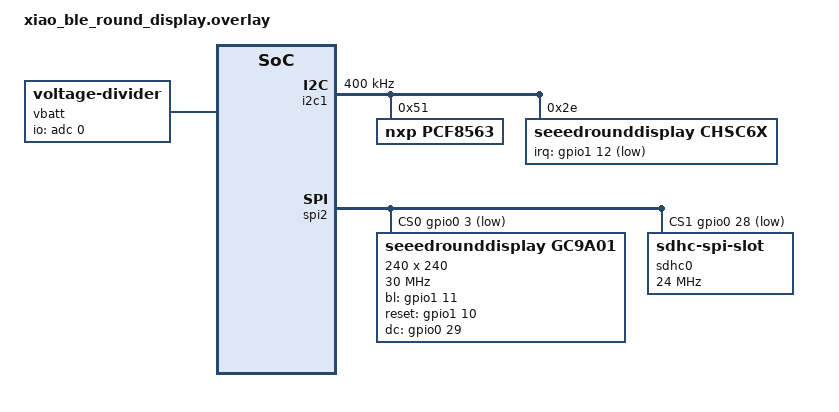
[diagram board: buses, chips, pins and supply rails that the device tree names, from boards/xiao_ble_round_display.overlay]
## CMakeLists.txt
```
#-------------------------------------------------------------------------------
# Zephyr Example Application
#
# Copyright (c) 2021 Nordic Semiconductor ASA
# SPDX-License-Identifier: Apache-2.0

cmake_minimum_required(VERSION 3.13.1)
find_package(Zephyr REQUIRED HINTS $ENV{ZEPHYR_BASE})

project(app LANGUAGES C)

add_subdirectory(src/bluetooth)
add_subdirectory(src/usb)
add_subdirectory(src/display)
add_subdirectory(src/sd)
add_subdirectory(src/rtc)

target_include_directories(app PRIVATE src)

# Files from application
FILE(GLOB app_sources src/*.c)
target_sources(app PRIVATE ${app_sources})
```

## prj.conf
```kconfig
# This file contains selected Kconfig options for the application.

# Delay on boot to get all log since startup
CONFIG_BOOT_DELAY=3000

# Enable c++ for eez framework
CONFIG_NEWLIB_LIBC_NANO=n
CONFIG_CPP=y
# Enable 17
CONFIG_STD_CPP17=y
# Newlib
CONFIG_NEWLIB_LIBC=y
# Standar c++ libraries
CONFIG_REQUIRES_FULL_LIBCPP=y

# enable logging
CONFIG_LOG=y
CONFIG_LOG_INFO_COLOR_GREEN=y
CONFIG_LOG_MODE_IMMEDIATE=y

# enable USB
CONFIG_STDOUT_CONSOLE=y
CONFIG_USB_DEVICE_PRODUCT="Xiao BLE Sense"
CONFIG_USB_DEVICE_PID=0x0001
CONFIG_USB_DRIVER_LOG_LEVEL_ERR=y
CONFIG_USB_DEVICE_LOG_LEVEL_ERR=y
CONFIG_UART_LINE_CTRL=y

# enabling Bluetooth
CONFIG_BT=y
CONFIG_BT_PERIPHERAL=y
CONFIG_BT_DEVICE_NAME="Xiao"
CONFIG_BT_DEVICE_APPEARANCE=5184
# 5184 means Generic Outdoor Sports Activity. Complete list of appearance values can be found on the Bluetooth website under "assigned values" : https://www.bluetooth.com/specifications/assigned-numbers/
CONFIG_BT_MAX_CONN=1
CONFIG_BT_MAX_PAIRED=1
CONFIG_BT_GATT_CLIENT=y
CONFIG_BT_L2CAP_TX_MTU=247
CONFIG_BT_BUF_ACL_RX_SIZE=251

# enabling bonding
CONFIG_BT_SETTINGS=y
CONFIG_FLASH=y
CONFIG_FLASH_PAGE_LAYOUT=y
CONFIG_FLASH_MAP=y
CONFIG_NVS=y
CONFIG_SETTINGS=y

# Enable GC9A01
CONFIG_PWM=y
CONFIG_SPI=y
CONFIG_DISPLAY=y
CONFIG_GC9X01X=y
CONFIG_PINCTRL=y
CONFIG_PM_DEVICE=y
CONFIG_PM_DEVICE_RUNTIME=y

# Enable LVGL
CONFIG_LV_Z_MEM_POOL_SIZE=16384
CONFIG_LVGL=y
CONFIG_LV_MEM_CUSTOM=y
CONFIG_LV_USE_LOG=y
CONFIG_LV_USE_LABEL=y
CONFIG_LV_USE_ARC=y
CONFIG_LV_USE_BTN=y
CONFIG_LV_FONT_DEFAULT_MONTSERRAT_16=y
CONFIG_LV_COLOR_16_SWAP=y
CONFIG_LV_COLOR_DEPTH_16=y

# Enable touchscreen CHSC6x
CONFIG_INPUT=y
CONFIG_INPUT_GPIO_KEYS=n
CONFIG_INPUT_CHSC6X=y

# Enable SD File System
CONFIG_DISK_ACCESS=y
CONFIG_FILE_SYSTEM=y
CONFIG_FAT_FILESYSTEM_ELM=y
CONFIG_MAIN_STACK_SIZE=2048

# Enable RTC
CONFIG_I2C=y
CONFIG_RTC=y
# RTC_UPDATE lets you set up a callback called every time the RTC is updated by 1 second. Not used at the moment.
CONFIG_RTC_UPDATE=n
```

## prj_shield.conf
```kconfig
# This file contains selected Kconfig options for the application.

# Delay on boot to get all log since startup
CONFIG_BOOT_DELAY=3000

# Enable c++ for eez framework
CONFIG_NEWLIB_LIBC_NANO=n
CONFIG_CPP=y
# Enable 17
CONFIG_STD_CPP17=y
# Newlib
CONFIG_NEWLIB_LIBC=y
# Standar c++ libraries
CONFIG_REQUIRES_FULL_LIBCPP=y

# enable logging
CONFIG_LOG=y
CONFIG_LOG_INFO_COLOR_GREEN=y
CONFIG_LOG_MODE_IMMEDIATE=y

# enable USB
CONFIG_STDOUT_CONSOLE=y
CONFIG_USB_DEVICE_PRODUCT="Xiao BLE Sense"
CONFIG_USB_DEVICE_PID=0x0001
CONFIG_USB_DRIVER_LOG_LEVEL_ERR=y
CONFIG_USB_DEVICE_LOG_LEVEL_ERR=y
CONFIG_UART_LINE_CTRL=y

# enabling Bluetooth
CONFIG_BT=y
CONFIG_BT_PERIPHERAL=y
CONFIG_BT_DEVICE_NAME="Xiao"
CONFIG_BT_DEVICE_APPEARANCE=5184
# 5184 means Generic Outdoor Sports Activity. Complete list of appearance values can be found on the Bluetooth website under "assigned values" : https://www.bluetooth.com/specifications/assigned-numbers/
CONFIG_BT_MAX_CONN=1
CONFIG_BT_MAX_PAIRED=1
CONFIG_BT_GATT_CLIENT=y
CONFIG_BT_L2CAP_TX_MTU=247
CONFIG_BT_BUF_ACL_RX_SIZE=251

# enabling bonding
CONFIG_BT_SETTINGS=y
CONFIG_FLASH=y
CONFIG_FLASH_PAGE_LAYOUT=y
CONFIG_FLASH_MAP=y
CONFIG_NVS=y
CONFIG_SETTINGS=y

# Enable GC9A01
CONFIG_PWM=y
CONFIG_SPI=y
CONFIG_DISPLAY=y
CONFIG_GC9X01X=y
CONFIG_DISPLAY_LOG_LEVEL_DBG=y
CONFIG_PINCTRL=y
CONFIG_PM_DEVICE=y
CONFIG_PM_DEVICE_RUNTIME=y

# Enable LVGL
CONFIG_LV_Z_MEM_POOL_SIZE=16384
CONFIG_LVGL=y
CONFIG_LV_MEM_CUSTOM=y
CONFIG_LV_USE_LOG=y
CONFIG_LV_USE_LABEL=y
CONFIG_LV_USE_ARC=y
CONFIG_LV_USE_BTN=y
CONFIG_LV_FONT_DEFAULT_MONTSERRAT_16=y
CONFIG_LV_COLOR_16_SWAP=y
CONFIG_LV_COLOR_DEPTH_16=y

# Enable touchscreen CHSC6x
CONFIG_INPUT=y
CONFIG_INPUT_GPIO_KEYS=n
CONFIG_INPUT_CHSC6X=y
CONFIG_INPUT_LOG_LEVEL_DBG=y

# Enable SD File System
CONFIG_DISK_ACCESS=y
CONFIG_FILE_SYSTEM=y
CONFIG_FAT_FILESYSTEM_ELM=y
CONFIG_MAIN_STACK_SIZE=2048

# Enable RTC
CONFIG_I2C=y
CONFIG_RTC=y
# RTC_UPDATE lets you set up a callback called every time the RTC is updated by 1 second. Not used at the moment.
CONFIG_RTC_UPDATE=n
```

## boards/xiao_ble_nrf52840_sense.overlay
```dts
/* This devicetree overlay file will be automatically picked by the Zephyr
 * build system when building the sample for the xiao_ble_sense board.
 */

/ {

    gpin {
        compatible = "gpio-keys";
        charging: charging {
            gpios = <&gpio0 17 GPIO_ACTIVE_LOW>;
            label = "Charging";
        };
    };

    vbatt {
        compatible = "voltage-divider";
        io-channels = <&adc 7>;
        output-ohms = <510000>;
        full-ohms = <1510000>;
        power-gpios = <&gpio0 14 GPIO_ACTIVE_LOW>;
    };

    mic-en {
        compatible = "regulator-fixed-sync", "regulator-fixed";
        enable-gpios = <&gpio1 10 GPIO_ACTIVE_HIGH>;
        regulator-name = "MIC_EN";
        regulator-boot-on;
        startup-delay-us = <3000>;
    };

    pwmleds {
        pwm_led0: pwm_led_0 {
            pwms = <&pwm0 0 PWM_MSEC(20) PWM_POLARITY_INVERTED>;
        };
        pwm_led1: pwm_led_1 {
            pwms = <&pwm0 1 PWM_MSEC(20) PWM_POLARITY_INVERTED>;
        };
        pwm_led2: pwm_led_2 {
            pwms = <&pwm0 2 PWM_MSEC(20) PWM_POLARITY_INVERTED>;
        };
    };

    aliases {
        pwm-led0 = &pwm_led0;
        pwm-led1 = &pwm_led1;
        pwm-led2 = &pwm_led2;
        charging = &charging;
    };
};

&pinctrl {
    pwm0_default: pwm0_default {
        group1 {
            psels = <NRF_PSEL(PWM_OUT0, 0, 26)>,
                    <NRF_PSEL(PWM_OUT1, 0, 30)>,
                    <NRF_PSEL(PWM_OUT2, 0, 6)>;
            nordic,invert;
        };
    };

    pwm0_sleep: pwm0_sleep {
        group1 {
            psels = <NRF_PSEL(PWM_OUT0, 0, 26)>,
                    <NRF_PSEL(PWM_OUT1, 0, 30)>,
                    <NRF_PSEL(PWM_OUT2, 0, 6)>;
            low-power-enable;
        };
    };

    pdm0_default_alt: pdm0_default_alt {
        group1 {
            psels = <NRF_PSEL(PDM_CLK, 1, 0)>,
                    <NRF_PSEL(PDM_DIN, 0, 16)>;
        };
    };

	pdm0_sleep: pdm0_sleep {
        group1 {
            psels = <NRF_PSEL(PDM_CLK, 1, 0)>,
                    <NRF_PSEL(PDM_DIN, 0, 16)>;
			low-power-enable;
        };
    };
};

dmic_dev: &pdm0 {
    status = "okay";
    pinctrl-0 = <&pdm0_default_alt>;
    pinctrl-1 = <&pdm0_sleep>;
    pinctrl-names = "default", "sleep";
    clock-source = "PCLK32M_HFXO";
};
```

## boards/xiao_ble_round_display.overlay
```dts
/* This devicetree overlay file must be added when building for
 * a Xiao board hooked to a Round display add-on.
 */

/ {
    chosen {
        zephyr,display = &gc9a01;
    };

    vbatt {
        compatible = "voltage-divider";
        io-channels = <&adc 0>;
        output-ohms = <470000>;
        full-ohms = <940000>;
    };

    lvgl_pointer {
        compatible = "zephyr,lvgl-pointer-input";
        input = <&chsc6x>;
        invert-x;
        invert-y;
    };

    aliases {
        rtc = &pcf8563;
    };
};

&uart0 {
    status = "disabled";
};

&i2c1 {
    clock-frequency = < I2C_BITRATE_FAST >;

    pcf8563: pcf8563@51 {
        status = "okay";
        compatible = "nxp,pcf8563";
        reg = <0x51 >; // In some Arduino libraries found over the internet, the adress is 0x51 and not 0xa2 as found in the datasheet...
    };

    chsc6x: chsc6x@2e {
        status = "okay";
        compatible = "seeedrounddisplay,chsc6x";
        reg = < 0x2e >;
        irq-gpios = <&gpio1 12 GPIO_ACTIVE_LOW>;
    };
};

&spi2 {
    status = "okay";
    compatible = "nordic,nrf-spim";
    pinctrl-0 = <&spi2_default>; // D13 D14 D15
    pinctrl-1 = <&spi2_sleep>;
    pinctrl-names = "default", "sleep";
    cs-gpios = <&gpio0 3 GPIO_ACTIVE_LOW>, <&gpio0 28 GPIO_ACTIVE_LOW>;    // D1, D2

    gc9a01: gc9a01@0 {
        compatible = "seeedrounddisplay,gc9a01";
        status = "okay";
        spi-max-frequency = <30000000>;
        reg = <0>; // This will use the first CS pin in the cs-gpios list.
        width = <240>;
        height = <240>;
        bl-gpios = <&gpio1 11 GPIO_ACTIVE_HIGH>; // D6
        reset-gpios = <&gpio1 10 GPIO_ACTIVE_HIGH>; // Not routed on display, but required by driver
        dc-gpios = <&gpio0 29 GPIO_ACTIVE_HIGH>; // D3
        rotation = <0>;
    };

    /* TODO: add SD device : https://docs.zephyrproject.org/latest/services/storage/disk/access.html#sd-card-support-via-spi */
    sdhc0: sdhc@1 {
        compatible = "zephyr,sdhc-spi-slot";
        reg = <1>; // This will use the second CS pin in the cs-gpios list.
        status = "okay";
        mmc {
            compatible = "zephyr,sdmmc-disk";
            status = "okay";
        };
        spi-max-frequency = <24000000>;
    };
};
```

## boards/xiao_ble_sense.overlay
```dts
/* This devicetree overlay file will be automatically picked by the Zephyr
 * build system when building the sample for the xiao_ble_sense board.
 */

/ {

    gpin {
        compatible = "gpio-keys";
        charging: charging {
            gpios = <&gpio0 17 GPIO_ACTIVE_LOW>;
            label = "Charging";
        };
    };

    vbatt {
        compatible = "voltage-divider";
        io-channels = <&adc 7>;
        output-ohms = <510000>;
        full-ohms = <1510000>;
        power-gpios = <&gpio0 14 GPIO_ACTIVE_LOW>;
    };

    mic-en {
        compatible = "regulator-fixed-sync", "regulator-fixed";
        enable-gpios = <&gpio1 10 (NRF_GPIO_DRIVE_S0H1 | GPIO_ACTIVE_HIGH)>;
        regulator-name = "MIC_EN";
        regulator-boot-on;
        startup-delay-us = <3000>;
    };

    pwmleds {
        pwm_led0: pwm_led_0 {
            pwms = <&pwm0 0 PWM_MSEC(20) PWM_POLARITY_INVERTED>;
        };
        pwm_led1: pwm_led_1 {
            pwms = <&pwm0 1 PWM_MSEC(20) PWM_POLARITY_INVERTED>;
        };
        pwm_led2: pwm_led_2 {
            pwms = <&pwm0 2 PWM_MSEC(20) PWM_POLARITY_INVERTED>;
        };
    };

    aliases {
        pwm-led0 = &pwm_led0;
        pwm-led1 = &pwm_led1;
        pwm-led2 = &pwm_led2;
        charging = &charging;
    };
};

&pinctrl {
    pwm0_default: pwm0_default {
        group1 {
            psels = <NRF_PSEL(PWM_OUT0, 0, 26)>,
                    <NRF_PSEL(PWM_OUT1, 0, 30)>,
                    <NRF_PSEL(PWM_OUT2, 0, 6)>;
            nordic,invert;
        };
    };

    pwm0_sleep: pwm0_sleep {
        group1 {
            psels = <NRF_PSEL(PWM_OUT0, 0, 26)>,
                    <NRF_PSEL(PWM_OUT1, 0, 30)>,
                    <NRF_PSEL(PWM_OUT2, 0, 6)>;
            low-power-enable;
        };
    };
    
    pdm0_default_alt: pdm0_default_alt {
        group1 {
            psels = <NRF_PSEL(PDM_CLK, 1, 0)>,
                    <NRF_PSEL(PDM_DIN, 0, 16)>;
        };
    };
};

dmic_dev: &pdm0 {
    status = "okay";
    pinctrl-0 = <&pdm0_default_alt>;
    pinctrl-names = "default";
    clock-source = "PCLK32M_HFXO";
};
```

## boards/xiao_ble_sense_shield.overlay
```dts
/* This devicetree overlay file will be automatically picked by the Zephyr
 * build system when building the sample for the xiao_ble_sense board.
 */

/ {

    gpin {
        compatible = "gpio-keys";
        charging: charging {
            gpios = <&gpio0 17 GPIO_ACTIVE_LOW>;
            label = "Charging";
        };
    };

    vbatt {
        compatible = "voltage-divider";
        io-channels = <&adc 7>;
        output-ohms = <510000>;
        full-ohms = <1510000>;
        power-gpios = <&gpio0 14 GPIO_ACTIVE_LOW>;
    };

    mic-en {
        compatible = "regulator-fixed-sync", "regulator-fixed";
        enable-gpios = <&gpio1 10 (NRF_GPIO_DRIVE_S0H1 | GPIO_ACTIVE_HIGH)>;
        regulator-name = "MIC_EN";
        regulator-boot-on;
        startup-delay-us = <3000>;
    };

    pwmleds {
        pwm_led0: pwm_led_0 {
            pwms = <&pwm0 0 PWM_MSEC(20) PWM_POLARITY_INVERTED>;
        };
        pwm_led1: pwm_led_1 {
            pwms = <&pwm0 1 PWM_MSEC(20) PWM_POLARITY_INVERTED>;
        };
        pwm_led2: pwm_led_2 {
            pwms = <&pwm0 2 PWM_MSEC(20) PWM_POLARITY_INVERTED>;
        };
    };

    aliases {
        pwm-led0 = &pwm_led0;
        pwm-led1 = &pwm_led1;
        pwm-led2 = &pwm_led2;
        charging = &charging;
        rtc = &pcf8563_xiao_round_display;
    };
};

&pinctrl {
    pwm0_default: pwm0_default {
        group1 {
            psels = <NRF_PSEL(PWM_OUT0, 0, 26)>,
                    <NRF_PSEL(PWM_OUT1, 0, 30)>,
                    <NRF_PSEL(PWM_OUT2, 0, 6)>;
            nordic,invert;
        };
    };

    pwm0_sleep: pwm0_sleep {
        group1 {
            psels = <NRF_PSEL(PWM_OUT0, 0, 26)>,
                    <NRF_PSEL(PWM_OUT1, 0, 30)>,
                    <NRF_PSEL(PWM_OUT2, 0, 6)>;
            low-power-enable;
        };
    };
    
    pdm0_default_alt: pdm0_default_alt {
        group1 {
            psels = <NRF_PSEL(PDM_CLK, 1, 0)>,
                    <NRF_PSEL(PDM_DIN, 0, 16)>;
        };
    };
};

dmic_dev: &pdm0 {
    status = "okay";
    pinctrl-0 = <&pdm0_default_alt>;
    pinctrl-names = "default";
    clock-source = "PCLK32M_HFXO";
};
```

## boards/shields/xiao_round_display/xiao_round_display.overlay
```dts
/* This devicetree overlay file describes the Round display for Xiao boards.
 */

/ {
    chosen {
        zephyr,display = &gc9a01_xiao_round_display;
    };

    vbatt {
        compatible = "voltage-divider";
        io-channels = <&adc 0>;
        output-ohms = <470000>;
        full-ohms = <940000>;
    };

    lvgl_pointer {
        compatible = "zephyr,lvgl-pointer-input";
        input = <&chsc6x_xiao_round_display>;
    };

    aliases {
        rtc = &pcf8563_xiao_round_display;
    };
};

&xiao_serial {
    status = "disabled";
};

&xiao_i2c {
    clock-frequency = < I2C_BITRATE_FAST >;

    pcf8563_xiao_round_display: pcf8563@51 {
        status = "okay";
        compatible = "nxp,pcf8563";
        reg = <0x51 >; // In some Arduino libraries found over the internet, the adress is 0x51 and not 0xa2 as found in the datasheet...
    };

    chsc6x_xiao_round_display: chsc6x@2e {
        status = "okay";
        compatible = "seeedrounddisplay,chsc6x";
        reg = < 0x2e >;
        irq-gpios = <&xiao_d 7 GPIO_ACTIVE_LOW>;
    };
};

&xiao_spi {
    status = "okay";
    cs-gpios = <&xiao_d 1 GPIO_ACTIVE_LOW>, <&xiao_d 2 GPIO_ACTIVE_LOW>;

    gc9a01_xiao_round_display: gc9a01@0 {
        status = "okay";
        compatible = "galaxycore,gc9x01x";
        reg = <0>;
        spi-max-frequency = <100000000>;
        cmd-data-gpios = <&xiao_d 3 GPIO_ACTIVE_HIGH>;
        pixel-format = <16>;
        width = <240>;
        height = <240>;
		display-inversion;
    };

    sdhc_xiao_round_display: sdhc@1 {
        compatible = "zephyr,sdhc-spi-slot";
        reg = <1>;
        status = "okay";
        mmc {
            compatible = "zephyr,sdmmc-disk";
            status = "okay";
        };
        spi-max-frequency = <24000000>;
    };
};
```

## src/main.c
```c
#include <main.h>

LOG_MODULE_REGISTER(MAIN, LOG_LEVEL_DBG);

void app_reset_to_uf2()
{
	NRF_POWER->GPREGRET = 0x57; // 0xA8 OTA, 0x4e Serial
	NVIC_SystemReset();
}

int main(void)
{
	ble_manager_init();
	ble_manager_start_advertising();

	xiao_sd_init();
	xiao_rtc_init();

	LOG_INF("Hello World! %s - %s", CONFIG_BOARD, APP_VERSION_STRING);
	while (true) {
		k_sleep(K_SECONDS(1));
	}
	return 0;
}
```

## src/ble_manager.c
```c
#include "include/ble_manager.h"

LOG_MODULE_REGISTER(BLE_MANAGER, LOG_LEVEL_DBG);

static const struct bt_data ad[] = {
    BT_DATA_BYTES(BT_DATA_FLAGS, (BT_LE_AD_GENERAL | BT_LE_AD_NO_BREDR)),
    BT_DATA(BT_DATA_NAME_COMPLETE, DEVICE_NAME, DEVICE_NAME_LEN),
    BT_DATA_BYTES(BT_DATA_UUID16_ALL,
                  BT_UUID_16_ENCODE(BT_UUID_BAS_VAL)),
};

static const struct bt_data sd[] = {
    BT_DATA_BYTES(BT_DATA_UUID128_ALL, BT_UUID_XIAO_SERVICE_VAL),
};

static K_SEM_DEFINE(ble_init_ok, 0, 1);

static struct bt_conn *current_conn;
static struct bt_conn *auth_conn;

static void mtu_exchange_cb(struct bt_conn *conn, uint8_t err,
                            struct bt_gatt_exchange_params *params)
{
    LOG_INF("%s: MTU exchange %s (%u)", __func__,
            err == 0U ? "successful" : "failed",
            bt_gatt_get_mtu(conn));
}

static struct bt_gatt_exchange_params mtu_exchange_params = {
    .func = mtu_exchange_cb};

static void connected(struct bt_conn *conn, uint8_t err)
{
    char addr[BT_ADDR_LE_STR_LEN];

    if (err)
    {
        LOG_ERR("Connection failed (err %u)", err);
        return;
    }

    bt_addr_le_to_str(bt_conn_get_dst(conn), addr, sizeof(addr));
    LOG_INF("Connected %s", addr);

    current_conn = bt_conn_ref(conn);

    int ret = bt_gatt_exchange_mtu(conn, &mtu_exchange_params);
    if (ret)
    {
        LOG_ERR("%s: MTU exchange failed (err %d)", __func__, err);
    }
}

static void disconnected(struct bt_conn *conn, uint8_t reason)
{
    char addr[BT_ADDR_LE_STR_LEN];

    bt_addr_le_to_str(bt_conn_get_dst(conn), addr, sizeof(addr));

    LOG_INF("Disconnected: %s (reason %u)", addr, reason);

    if (auth_conn)
    {
        bt_conn_unref(auth_conn);
        auth_conn = NULL;
    }

    if (current_conn)
    {
        bt_conn_unref(current_conn);
        current_conn = NULL;
    }
}

#ifdef CONFIG_XIAO_SERVICE_SECURITY_ENABLED
static void security_changed(struct bt_conn *conn, bt_security_t level,
                             enum bt_security_err err)
{
    char addr[BT_ADDR_LE_STR_LEN];

    bt_addr_le_to_str(bt_conn_get_dst(conn), addr, sizeof(addr));

    if (!err)
    {
        LOG_DBG("Security changed: %s level %u", addr, level);
    }
    else
    {
        LOG_ERR("Security failed: %s level %u err %d", addr,
                level, err);
    }
}
#endif

BT_CONN_CB_DEFINE(conn_callbacks) = {
    .connected = connected,
    .disconnected = disconnected,
#ifdef CONFIG_XIAO_SERVICE_SECURITY_ENABLED
    .security_changed = security_changed,
#endif
};

#if defined(CONFIG_XIAO_SERVICE_SECURITY_ENABLED)
static void auth_passkey_display(struct bt_conn *conn, unsigned int passkey)
{
    char addr[BT_ADDR_LE_STR_LEN];

    bt_addr_le_to_str(bt_conn_get_dst(conn), addr, sizeof(addr));

    LOG_DBG("Passkey for %s: %06u", addr, passkey);
}

static void auth_passkey_confirm(struct bt_conn *conn, unsigned int passkey)
{
    char addr[BT_ADDR_LE_STR_LEN];

    auth_conn = bt_conn_ref(conn);

    bt_addr_le_to_str(bt_conn_get_dst(conn), addr, sizeof(addr));

    LOG_DBG("Passkey for %s: %06u", addr, passkey);
    LOG_DBG("Press Button 1 to confirm, Button 2 to reject.");
}

static void auth_cancel(struct bt_conn *conn)
{
    char addr[BT_ADDR_LE_STR_LEN];

    bt_addr_le_to_str(bt_conn_get_dst(conn), addr, sizeof(addr));

    LOG_DBG("Pairing cancelled: %s", addr);
}

static void pairing_complete(struct bt_conn *conn, bool bonded)
{
    char addr[BT_ADDR_LE_STR_LEN];

    bt_addr_le_to_str(bt_conn_get_dst(conn), addr, sizeof(addr));

    LOG_DBG("Pairing completed: %s, bonded: %d", addr, bonded);
}

static void pairing_failed(struct bt_conn *conn, enum bt_security_err reason)
{
    char addr[BT_ADDR_LE_STR_LEN];

    bt_addr_le_to_str(bt_conn_get_dst(conn), addr, sizeof(addr));

    LOG_DBG("Pairing failed conn: %s, reason %d", addr, reason);
}

static struct bt_conn_auth_cb conn_auth_callbacks = {
    .passkey_display = auth_passkey_display,
    .passkey_confirm = auth_passkey_confirm,
    .cancel = auth_cancel,
};

static struct bt_conn_auth_info_cb conn_auth_info_callbacks = {
    .pairing_complete = pairing_complete,
    .pairing_failed = pairing_failed};
#else
static struct bt_conn_auth_cb conn_auth_callbacks;
static struct bt_conn_auth_info_cb conn_auth_info_callbacks;
#endif

static void bt_receive_cb(struct bt_conn *conn, const uint8_t *const data,
                          uint16_t len)
{
    char addr[BT_ADDR_LE_STR_LEN] = {0};

    bt_addr_le_to_str(bt_conn_get_dst(conn), addr, ARRAY_SIZE(addr));

    ble_xiaos_control_process(data, len);
}

static void bt_subscribe_cb(enum xiao_service_send_status status)
{
    return;
}

static struct xiao_service_cb xiao_cb = {
    .control_received = bt_receive_cb,
    .control_send_enabled = bt_subscribe_cb,
};

#ifdef CONFIG_XIAO_SERVICE_SECURITY_ENABLED
static void num_comp_reply(bool accept)
{
    if (accept)
    {
        bt_conn_auth_passkey_confirm(auth_conn);
        LOG_DBG("Numeric Match, conn %p", (void *)auth_conn);
    }
    else
    {
        bt_conn_auth_cancel(auth_conn);
        LOG_DBG("Numeric Reject, conn %p", (void *)auth_conn);
    }

    bt_conn_unref(auth_conn);
    auth_conn = NULL;
}

void button_changed(uint32_t button_state, uint32_t has_changed)
{
    uint32_t buttons = button_state & has_changed;

    if (auth_conn)
    {
        if (buttons & KEY_PASSKEY_ACCEPT)
        {
            num_comp_reply(true);
        }

        if (buttons & KEY_PASSKEY_REJECT)
        {
            num_comp_reply(false);
        }
    }
}
#endif /* CONFIG_XIAO_SERVICE_SECURITY_ENABLED */

bool ble_manager_is_connected()
{
    // LOG_DBG("Connection state is %u", current_conn != NULL);
    return current_conn != NULL;
}

bool ble_manager_control_is_subscribed()
{
    return bt_gatt_is_subscribed(current_conn, bt_gatt_find_by_uuid(NULL, 1, BT_UUID_CONTROL), BT_GATT_CCC_INDICATE);
}

uint32_t ble_manager_start_advertising()
{
    int err = 0;
    err = bt_le_adv_start(BT_LE_ADV_CONN, ad, ARRAY_SIZE(ad), sd,
                          ARRAY_SIZE(sd));
    if (err)
    {
        if (err == -EALREADY)
        {
            LOG_DBG("Advertising already started.");
        }
        else
        {
            LOG_ERR("Advertising failed to start (err %d)", err);
            return 0;
        }
    }
    return 1;
}

uint32_t ble_manager_stop_advertising()
{
    int err = 0;
    err = bt_le_adv_stop();
    if (err)
    {
        if (err == -EALREADY)
        {
            LOG_DBG("Advertising already stopped.");
        }
        else
        {
            LOG_ERR("Advertising failed to stop (err %d)", err);
            return 0;
        }
    }
    return 1;
}

uint8_t ble_manager_init()
{
    int err = 0;

    if (IS_ENABLED(CONFIG_XIAO_SERVICE_SECURITY_ENABLED))
    {
        err = bt_conn_auth_cb_register(&conn_auth_callbacks);
        if (err)
        {
            LOG_ERR("Failed to register authorization callbacks.");
            return 0;
        }

        err = bt_conn_auth_info_cb_register(&conn_auth_info_callbacks);
        if (err)
        {
            LOG_ERR("Failed to register authorization info callbacks.");
            return 0;
        }
    }

    err = bt_enable(NULL);
    if (err)
    {
        LOG_ERR("Error enabling the Bluetooth stack...");
    }

    LOG_INF("Bluetooth initialized");

    k_sem_give(&ble_init_ok);

    if (IS_ENABLED(CONFIG_SETTINGS))
    {
        settings_load();
    }

    err = xiao_service_init(&xiao_cb);
    if (err)
    {
        LOG_ERR("Failed to initialize XIAO service (err: %d)", err);
        return 0;
    }
    return 1;
}
```

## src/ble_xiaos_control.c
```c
#include <ble_xiaos_control.h>

LOG_MODULE_REGISTER(ble_xiaos_control, LOG_LEVEL_DBG);

static uint8_t _queue_command(uint8_t opcode, uint8_t *data, uint8_t length)
{
    if (length > XIAO_CONTROL_DATA_MAX_LEN)
    {
        LOG_ERR("Data length too long");
        return 0;
    }
    else
    {
        uint8_t dest[XIAO_CONTROL_DATA_MAX_LEN];
        memcpy(&dest[0], &opcode, sizeof(uint8_t));
        memcpy(&dest[1], &length, sizeof(uint8_t));
        memcpy(&dest[2], data, length);
        char str[60];
        sprintf(str, "Building Opcode %.2x - Length %.2x - Payload", opcode, length);
        LOG_HEXDUMP_INF(data, length, str);

        int8_t ret = control_send(NULL, dest, length + 2);
        if (ret == 0)
        {
            return 1;
        }
        else
        {
            LOG_ERR("Failed to send opcode %.2x (%i)", opcode, ret);
            return 0;
        }
    }
}

uint32_t ble_xiaos_control_queue(uint8_t opcode, uint8_t *data, uint8_t len)
{
    return _queue_command(opcode, data, len);
}

bool ble_xiaos_control_ready()
{
    return ble_manager_control_is_subscribed();
}

bool ble_xiaos_control_authenticated()
{
    return true;
}

static void _resp_err(uint8_t opcode)
{
    _queue_command((uint32_t)(opcode | RESPONSE_BIT), NULL, 0);
}

uint8_t ble_xiaos_control_process(const uint8_t *const data, uint16_t length)
{
    if (length < 2)
    {
        LOG_ERR("Length of packet received is too small (%u)", length);
        return 0;
    }

    uint8_t opcode;
    uint8_t len;
    uint8_t payload[XIAO_CONTROL_DATA_MAX_LEN];
    memcpy(&opcode, &data[0], sizeof(uint8_t));
    memcpy(&len, &data[1], sizeof(uint8_t));
    memcpy(payload, &data[2], len * sizeof(uint8_t));

    char str[80];
    sprintf(str, "Control packet written with Opcode %.2x - Length %.2x - Payload", opcode, len);
    LOG_HEXDUMP_INF(data, length, str);

    switch (opcode)
    {
    
    case 0x7F:
        if (len != 0)
        {
            _resp_err(opcode);
            break;
        }

        app_reset_to_uf2();
        break;

    default:
        LOG_WRN("Unhandled opcode: %.2x", (uint8_t)opcode);
        break;
    }

    return 1;
}
```

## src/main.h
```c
#pragma once

#include <stdio.h>
#include <stdint.h>
#include <zephyr/kernel.h>
#include <zephyr/logging/log.h>
#include <app_version.h>

#include "bluetooth/ble_manager.h"
#include "rtc/xiao_rtc.h"
#include "sd/sd.h"

void app_reset_to_uf2();
```
